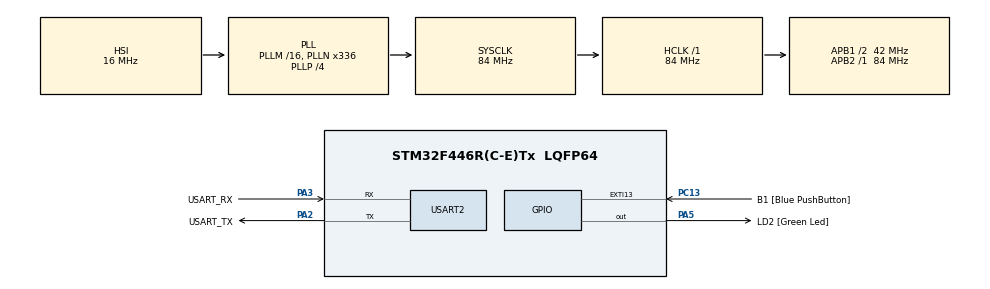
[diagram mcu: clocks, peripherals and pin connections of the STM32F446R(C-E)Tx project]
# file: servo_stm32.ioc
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Mcu.Family=STM32F4
Mcu.Name=STM32F446R(C-E)Tx
Mcu.Package=LQFP64
NVIC.PriorityGroup=NVIC_PRIORITYGROUP_0
PA13.GPIO_Label=TMS
PA13.Mode=Serial_Wire
PA13.Signal=SYS_JTMS-SWDIO
PA14.GPIO_Label=TCK
PA14.Mode=Serial_Wire
PA14.Signal=SYS_JTCK-SWCLK
PA2.GPIO_Label=USART_TX
PA2.Mode=Asynchronous
PA2.Signal=USART2_TX
PA3.GPIO_Label=USART_RX
PA3.Mode=Asynchronous
PA3.Signal=USART2_RX
PA5.GPIO_Label=LD2 [Green Led]
PA5.Signal=GPIO_Output
PB3.GPIO_Label=SWO
PB3.Signal=SYS_JTDO-SWO
PC13.GPIO_Label=B1 [Blue PushButton]
PC13.GPIO_ModeDefaultEXTI=GPIO_MODE_IT_FALLING
PC13.Signal=GPXTI13
PC14-OSC32_IN.Mode=LSE-External-Oscillator
PC14-OSC32_IN.Signal=RCC_OSC32_IN
PC15-OSC32_OUT.Mode=LSE-External-Oscillator
PC15-OSC32_OUT.Signal=RCC_OSC32_OUT
PH0-OSC_IN.Mode=HSE-External-Oscillator
PH0-OSC_IN.Signal=RCC_OSC_IN
PH1-OSC_OUT.Mode=HSE-External-Oscillator
PH1-OSC_OUT.Signal=RCC_OSC_OUT
ProjectManager.HeapSize=0x200
ProjectManager.StackSize=0x400
ProjectManager.TargetToolchain=STM32CubeIDE
RCC.48MHZClocksFreq_Value=84000000
RCC.AHBFreq_Value=84000000
RCC.APB1CLKDivider=RCC_HCLK_DIV2
RCC.APB1Freq_Value=42000000
RCC.APB1TimFreq_Value=84000000
RCC.APB2Freq_Value=84000000
RCC.APB2TimFreq_Value=84000000
RCC.CortexFreq_Value=84000000
RCC.FLatency-AdvancedSettings=FLASH_LATENCY_2
RCC.HCLKFreq_Value=84000000
RCC.HSE_VALUE=8000000
RCC.HSI_VALUE=16000000
RCC.PLLN=336
RCC.PLLP=RCC_PLLP_DIV4
RCC.SYSCLKFreq_VALUE=84000000
RCC.SYSCLKSource=RCC_SYSCLKSOURCE_PLLCLK
RCC.USBFreq_Value=168000000
RCC.VCOOutputFreq_Value=336000000
USART2.VirtualMode=VM_ASYNC
board=NUCLEO-F446RE

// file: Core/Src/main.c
/* USER CODE BEGIN Header */
/**
  ******************************************************************************
  * @file           : main.c
  * @brief          : Main program body
  ******************************************************************************
  * @attention
  *
  * Copyright (c) 2024 STMicroelectronics.
  * All rights reserved.
  *
  * This software is licensed under terms that can be found in the LICENSE file
  * in the root directory of this software component.
  * If no LICENSE file comes with this software, it is provided AS-IS.
  *
  ******************************************************************************
  */
/* USER CODE END Header */
#include "main.h"

UART_HandleTypeDef huart2;

void SystemClock_Config(void);
static void MX_GPIO_Init(void);
static void MX_USART2_UART_Init(void);

/* USER CODE BEGIN 0 */
#include <math.h>
#define ADC_FS 3.3f

volatile uint16_t voltage = 0;
volatile float voltage_f = 0;
void ADC_IRQHandler() {
	if(((ADC1->SR >> ADC_SR_EOC_Pos) & 0x01)) {
		voltage = (uint16_t)ADC1->DR;
		voltage_f = voltage*(ADC_FS/pow(2, 12));
		ADC1->CR2 |= (0x1 << ADC_CR2_SWSTART_Pos);
	}
}

void ADC_Init() {
	/* GPIO Configuration */
	// Provide clock to PORTA (PA_0 and PA_1 are associated to CH0 and CH1)
	RCC->AHB1ENR |= (1 << RCC_AHB1ENR_GPIOAEN_Pos); 	// Clock to GPIOA

	// Set both GPIOs in Analog mode
	GPIOA->MODER |= (3 << GPIO_MODER_MODE0_Pos);		// Set PA0 in Analog mode

	/* ADC Configuration */
	// Provide clock to ADC1
	RCC->APB2ENR |= (1 << RCC_APB2ENR_ADC1EN_Pos); 	// Clock to ADC1

	ADC1->CR2 	|= (0x01 << ADC_CR2_ADON_Pos);			// (ADON) Power On ADC1
	ADC1->CR2 	&= ~(0x01 << ADC_CR2_CONT_Pos);			// (CONT) Single Conversion Mode
	ADC1->SQR3 	&= ~(0x1F << 0);						// Clear before Selection of Channel 0
	ADC1->SQR3 	|= (0x00 << 0);							// Selection of Channel 0
	ADC1->CR1 	&= ~(0x1 << ADC_CR1_SCAN_Pos); 			// (SCAN) Disable Scan Mode
	ADC1->CR1 	&= ~(0x1 << ADC_CR1_DISCEN_Pos); 		// (DISCEN) Disable Discontinuous Mode
	ADC1->CR1 	&= ~(0x07 << ADC_CR1_DISCNUM_Pos);		// (DISCNUM) Clear Number of Discontinuous Channels
	ADC1->CR2 	&= ~(0x1 << ADC_CR2_ALIGN_Pos); 		// (ALIGN) Align right
	ADC1->SMPR2 	&= ~(0x0F << ADC_SMPR2_SMP0_Pos);		// Set 3 Cycles per Samples
	ADC1->CR1 	&= ~(0x03 << ADC_CR1_RES_Pos);			// 12 Bit resolution
	ADC1->CR2 	|= (0x01 << ADC_CR2_EOCS_Pos); 			// (EOCS) Notify when each conversion of a sequence is complete
	ADC1 ->CR1 	|= (0x01 << ADC_CR1_EOCIE_Pos); 		// (EOCIE) Generate an interrupt every time EOC is set

	NVIC_EnableIRQ(ADC_IRQn); 		// Check file stm32f446xx.h for the name definition
	NVIC_SetPriority(ADC_IRQn, 0); 	// Priority
	ADC1->CR2 |= (0x1 << ADC_CR2_SWSTART_Pos);
}
void TIM3_PWM_setup() {
	/* GPIO SetUp (PA6 -> TIM3_CH1) */
	RCC->AHB1ENR |= (1 << RCC_AHB1ENR_GPIOAEN_Pos);		// Enable GPIO6
	GPIOA->MODER |= (2 << 12); 							// Alternate function mode
	GPIOA->AFR[0] = (2 << 24); 							// Alternate function n2 for PA6 (TIM3 CH1)
	GPIOA->OSPEEDR 	|= (3 << 12);  						// High Speed for PIN PA6

	/* TIM3 SetUp */
	RCC->APB1ENR |= (1 << RCC_APB1ENR_TIM3EN_Pos); 		// Clock to TIM3

	/* CR1 Configuration */
	TIM3->CR1 &= ~(1 << TIM_CR1_UDIS_Pos); 		// Update event enabled
	TIM3->CR1 &= ~(1 << TIM_CR1_URS_Pos);		// Update event generated by any source
	TIM3->CR1 &= (1 << TIM_CR1_DIR_Pos); 		// Upcounting direction
	TIM3->CR1 &= (0x03 << TIM_CR1_CMS_Pos); 	// (00) Edge aligned mode
	TIM3->CR1 |= (1 << TIM_CR1_ARPE_Pos); 		// Auto reload preload enabled

	TIM3->CCMR1 &= ~(0x03 << TIM_CCMR1_CC1S_Pos); 	// TIM3_CH1 configured as output
	TIM3->CCMR1 |= (1 << TIM_CCMR1_OC1PE_Pos); 		// Preload CCR1 register as well
	TIM3->CCMR1 |= (0x6 << TIM_CCMR1_OC1M_Pos); 	// PWM Mode 1

	TIM3->CCER |= (1 << TIM_CCER_CC1E_Pos); 				// Enable output channel 1
	TIM3->CCER |= (1 << TIM_CCER_CC1P_Pos); 				// Active low

	TIM3->PSC = 840 - 1; 						// CNT incremented every ms
	TIM3->ARR = 2000 - 1; 						// Update event every seconds
	TIM3->CCR1 = 500 - 1;

	TIM3->EGR |= (1 << TIM_EGR_UG_Pos); 		// Fire an update event to update shadow registers
}

/* USER CODE END 0 */

int main(void)
{

  /* MCU Configuration--------------------------------------------------------*/

  /* Reset of all peripherals, Initializes the Flash interface and the Systick. */
  HAL_Init();

  /* Configure the system clock */
  SystemClock_Config();

  /* Initialize all configured peripherals */
  MX_GPIO_Init();
  MX_USART2_UART_Init();
  /* USER CODE BEGIN 2 */
  TIM3_PWM_setup();
  ADC_Init();

  /* USER CODE END 2 */

  /* Infinite loop */
  /* USER CODE BEGIN WHILE */
  TIM3->CR1 |= (1 << TIM_CR1_CEN_Pos);
  uint16_t duty = 0;
  while (1)
  {
    /* USER CODE END WHILE */

    /* USER CODE BEGIN 3 */
	  duty = 200*(voltage/4096.0) - 1;
	  TIM3->CCR1 = TIM3->ARR - duty;
	  HAL_Delay(100);
  }
  /* USER CODE END 3 */
}

void SystemClock_Config(void)
{
  RCC_OscInitTypeDef RCC_OscInitStruct = {0};
  RCC_ClkInitTypeDef RCC_ClkInitStruct = {0};

  /** Configure the main internal regulator output voltage
  */
  __HAL_RCC_PWR_CLK_ENABLE();
  __HAL_PWR_VOLTAGESCALING_CONFIG(PWR_REGULATOR_VOLTAGE_SCALE3);

  /** Initializes the RCC Oscillators according to the specified parameters
  * in the RCC_OscInitTypeDef structure.
  */
  RCC_OscInitStruct.OscillatorType = RCC_OSCILLATORTYPE_HSI;
  RCC_OscInitStruct.HSIState = RCC_HSI_ON;
  RCC_OscInitStruct.HSICalibrationValue = RCC_HSICALIBRATION_DEFAULT;
  RCC_OscInitStruct.PLL.PLLState = RCC_PLL_ON;
  RCC_OscInitStruct.PLL.PLLSource = RCC_PLLSOURCE_HSI;
  RCC_OscInitStruct.PLL.PLLM = 16;
  RCC_OscInitStruct.PLL.PLLN = 336;
  RCC_OscInitStruct.PLL.PLLP = RCC_PLLP_DIV4;
  RCC_OscInitStruct.PLL.PLLQ = 2;
  RCC_OscInitStruct.PLL.PLLR = 2;
  if (HAL_RCC_OscConfig(&RCC_OscInitStruct) != HAL_OK)
  {
    Error_Handler();
  }

  /** Initializes the CPU, AHB and APB buses clocks
  */
  RCC_ClkInitStruct.ClockType = RCC_CLOCKTYPE_HCLK|RCC_CLOCKTYPE_SYSCLK
                              |RCC_CLOCKTYPE_PCLK1|RCC_CLOCKTYPE_PCLK2;
  RCC_ClkInitStruct.SYSCLKSource = RCC_SYSCLKSOURCE_PLLCLK;
  RCC_ClkInitStruct.AHBCLKDivider = RCC_SYSCLK_DIV1;
  RCC_ClkInitStruct.APB1CLKDivider = RCC_HCLK_DIV2;
  RCC_ClkInitStruct.APB2CLKDivider = RCC_HCLK_DIV1;

  if (HAL_RCC_ClockConfig(&RCC_ClkInitStruct, FLASH_LATENCY_2) != HAL_OK)
  {
    Error_Handler();
  }
}

static void MX_USART2_UART_Init(void)
{

  huart2.Instance = USART2;
  huart2.Init.BaudRate = 115200;
  huart2.Init.WordLength = UART_WORDLENGTH_8B;
  huart2.Init.StopBits = UART_STOPBITS_1;
  huart2.Init.Parity = UART_PARITY_NONE;
  huart2.Init.Mode = UART_MODE_TX_RX;
  huart2.Init.HwFlowCtl = UART_HWCONTROL_NONE;
  huart2.Init.OverSampling = UART_OVERSAMPLING_16;
  if (HAL_UART_Init(&huart2) != HAL_OK)
  {
    Error_Handler();
  }

}

static void MX_GPIO_Init(void)
{
  GPIO_InitTypeDef GPIO_InitStruct = {0};

  /* GPIO Ports Clock Enable */
  __HAL_RCC_GPIOC_CLK_ENABLE();
  __HAL_RCC_GPIOH_CLK_ENABLE();
  __HAL_RCC_GPIOA_CLK_ENABLE();
  __HAL_RCC_GPIOB_CLK_ENABLE();

  /*Configure GPIO pin Output Level */
  HAL_GPIO_WritePin(LD2_GPIO_Port, LD2_Pin, GPIO_PIN_RESET);

  /*Configure GPIO pin : B1_Pin */
  GPIO_InitStruct.Pin = B1_Pin;
  GPIO_InitStruct.Mode = GPIO_MODE_IT_FALLING;
  GPIO_InitStruct.Pull = GPIO_NOPULL;
  HAL_GPIO_Init(B1_GPIO_Port, &GPIO_InitStruct);

  /*Configure GPIO pin : LD2_Pin */
  GPIO_InitStruct.Pin = LD2_Pin;
  GPIO_InitStruct.Mode = GPIO_MODE_OUTPUT_PP;
  GPIO_InitStruct.Pull = GPIO_NOPULL;
  GPIO_InitStruct.Speed = GPIO_SPEED_FREQ_LOW;
  HAL_GPIO_Init(LD2_GPIO_Port, &GPIO_InitStruct);

}

void Error_Handler(void)
{
  __disable_irq();
  while (1)
  {
  }
}
